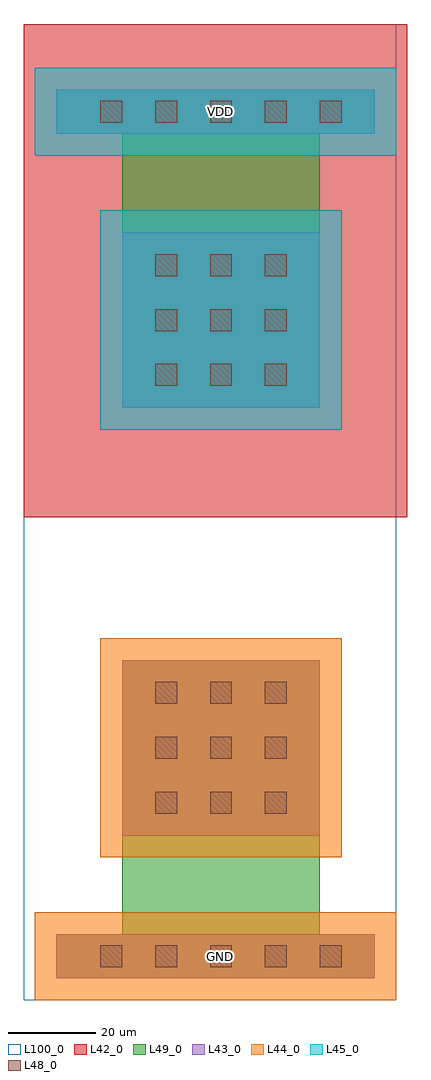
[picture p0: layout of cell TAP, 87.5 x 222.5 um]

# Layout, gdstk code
import gdstk
lib = gdstk.Library(unit=1e-6, precision=1e-09)
def R(c, l, rs):  # rectangles x0, y0, x1, y1
    for r in rs: c.add(gdstk.rectangle(r[:2], r[2:], *l))
def A(c, l, x, y, w, h, nx, ny, dx, dy):  # array of equal rectangles
    R(c, l, [(x+i*dx, y+j*dy, x+i*dx+w, y+j*dy+h) for i in range(nx) for j in range(ny)])
L42_0 = (42, 0)
L43_0 = (43, 0)
L44_0 = (44, 0)
L45_0 = (45, 0)
L48_0 = (48, 0)
L49_0 = (49, 0)
L100_0 = (100, 0)

tap = lib.new_cell('TAP')
R(tap, L42_0, [(0,110,87.5,112.5), (0,112.5,87.5,215), (7.5,112.5,80,190), (0,190,87.5,215), (0,215,87.5,222.5)])
R(tap, L43_0, [(7.5,5,80,15), (22.5,37.5,67.5,77.5), (22.5,135,67.5,175), (7.5,197.5,80,207.5)])
R(tap, L44_0, [(2.5,0,85,20), (17.5,32.5,72.5,82.5)])
R(tap, L45_0, [(17.5,130,72.5,180), (2.5,192.5,85,212.5)])
A(tap, L48_0, 17.5, 7.5, 5, 5, 5, 2, 12.5, 192.5)
A(tap, L48_0, 30, 42.5, 5, 5, 3, 3, 12.5, 12.5)
A(tap, L48_0, 30, 140, 5, 5, 3, 3, 12.5, 12.5)
R(tap, L49_0, [(7.5,5,80,15), (22.5,15,67.5,77.5), (22.5,135,67.5,197.5), (7.5,197.5,80,207.5)])
R(tap, L100_0, [(0,0,85,222.5)])
tap.add(gdstk.Label('VDD', (45,202.5), layer=49, texttype=1))
tap.add(gdstk.Label('GND', (45,10), layer=49, texttype=1))

lib.write_gds('TAP.gds')
